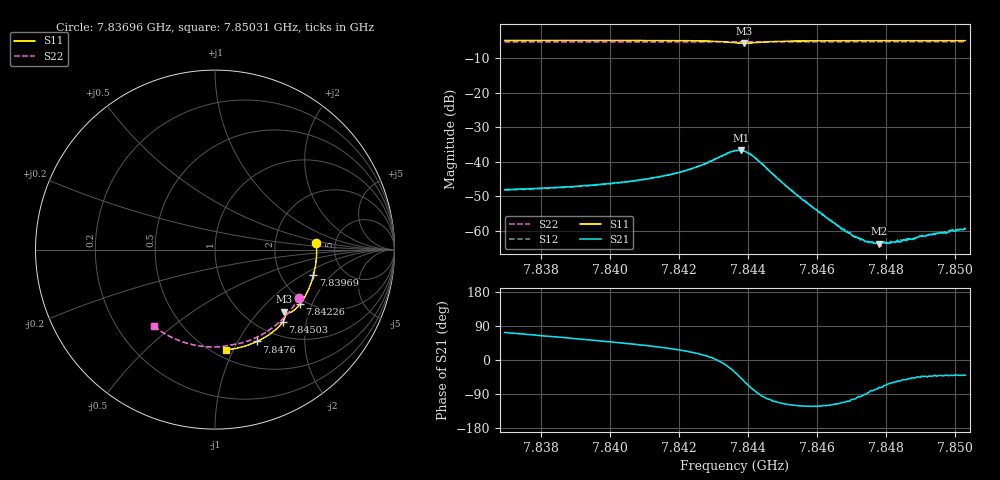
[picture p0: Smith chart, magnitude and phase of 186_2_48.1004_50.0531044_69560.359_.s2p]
#  HZ  S  RI  R  50.00
! Rohde & Schwarz Vector Network Analyzer
! Rohde-Schwarz,ZNB20-2Port,1311601062101988,3.16
! Created: UTC 12/23/2023, 3:53:17 AM
! freq[Hz]  re:S11  im:S11  re:S21  im:S21  re:S12  im:S12  re:S22  im:S22
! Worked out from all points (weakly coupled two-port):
!   401 points, 7.83696 GHz to 7.85031 GHz, reference 50 ohm
!   highest |S21| = -36.67 dB at 7.8438 GHz (marker M1); lowest = -63.6 dB at 7.84781 GHz (marker M2)
!   lowest |S11| = -5.7 dB at 7.8439 GHz (marker M3), VSWR 3.14, Z = 73.6 - j69.3 ohm
!   |S11| at or under -10 dB: nowhere
!   |S22| runs from -5.4 to -5.3 dB; largest |S21 - S12| = 0.00032
!   S11 on the Smith chart (normalised r, x): 7.83696 GHz: 3.56, +0.41; 7.83969 GHz: 3.03, -1.27; 7.84226 GHz: 1.85, -1.64; 7.84503 GHz: 1.26, -1.46; 7.8476 GHz: 0.81, -1.21; 7.85031 GHz: 0.57, -0.94
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7.836956e9  0.5649 0.0387  0.00116 0.00376  0.00121 0.0037  0.4686 -0.2675
7.839193e9  0.5563 -0.1096  0.00258 0.00365  0.00256 0.00363  0.3731 -0.391
7.839693e9  0.5487 -0.1424  0.00299 0.00362  0.00294 0.0036  0.3469 -0.4144
7.841429e9  0.5058 -0.253  0.00501 0.0034  0.00496 0.0034  0.2457 -0.4822
7.842264e9  0.4737 -0.3034  0.00706 0.00295  0.00699 0.00294  0.1922 -0.506
7.843132e9  0.4241 -0.3484  0.0113 -0.000163  0.0113 -0.000184  0.1337 -0.5236
7.843632e9  0.3889 -0.3517  0.0122 -0.0078  0.0122 -0.00763  0.1002 -0.5296
7.843799e9  0.3842 -0.3472  0.00993 -0.0108  0.00995 -0.0106  0.0896 -0.5315
7.8439e9  0.3843 -0.345  0.00784 -0.0119  0.00785 -0.0118  0.0834 -0.5324
7.8442e9  0.3915 -0.3507  0.00188 -0.0114  0.00171 -0.0114  0.0641 -0.5363
7.845034e9  0.3763 -0.405  -0.00206 -0.00437  -0.00205 -0.00438  0.00593 -0.5427
7.845869e9  0.335 -0.4486  -0.00118 -0.00188  -0.0012 -0.00188  -0.0529 -0.5411
7.84667e9  0.2902 -0.4814  -0.000476 -0.00103  -0.000464 -0.00105  -0.1087 -0.5331
7.847071e9  0.2667 -0.4953  -0.0002 -0.000814  -0.000204 -0.000801  -0.1362 -0.5269
7.847438e9  0.2446 -0.5068  -7.56e-06 -0.000704  7.25e-06 -0.000693  -0.1611 -0.5202
7.847605e9  0.2344 -0.5116  0.000103 -0.000669  9.04e-05 -0.000697  -0.1724 -0.5166
7.847805e9  0.2223 -0.5172  0.000207 -0.000623  0.000172 -0.000609  -0.1854 -0.5122
7.848106e9  0.2036 -0.5249  0.000318 -0.000595  0.000294 -0.000585  -0.2053 -0.5047
7.849307e9  0.1268 -0.5484  0.000656 -0.000603  0.000636 -0.00061  -0.281 -0.4677
7.849775e9  0.0963 -0.5543  0.000722 -0.000608  0.000757 -0.000641  -0.3086 -0.4502
7.849875e9  0.0897 -0.5554  0.00078 -0.000668  0.000792 -0.000631  -0.3143 -0.4463
7.850309e9  0.0613 -0.5591  0.000812 -0.000688  0.000841 -0.000709  -0.339 -0.4283
